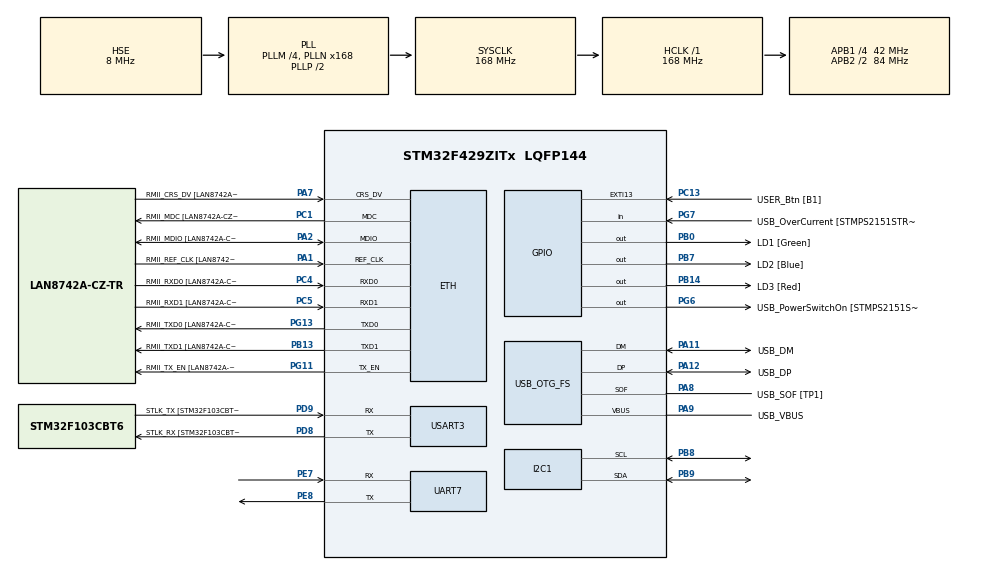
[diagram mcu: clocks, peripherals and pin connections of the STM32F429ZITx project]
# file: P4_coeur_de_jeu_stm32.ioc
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Mcu.Family=STM32F4
FREERTOS.Queues01=read_queue,16,3,1,Dynamic,NULL,NULL;write_queue,16,8,1,Dynamic,NULL,NULL;inputs_queue,16,5,1,Dynamic,NULL,NULL;outputs_queue,16,10,1,Dynamic,NULL,NULL
RCC.CortexFreq_Value=168000000
PG6.Signal=GPIO_Output
PB14.GPIO_Label=LD3 [Red]
PG6.GPIO_Label=USB_PowerSwitchOn [STMPS2151STR_EN]
PA14.GPIO_Label=TCK
RCC.SYSCLKSourceVirtual=RCC_SYSCLKSOURCE_PLLCLK
PA11.Mode=Device_Only
PB0.GPIO_Label=LD1 [Green]
PC14/OSC32_IN.Mode=LSE-External-Oscillator
PC5.Mode=RMII
PC13.GPIO_Label=USER_Btn [B1]
PB13.GPIO_Label=RMII_TXD1 [LAN8742A-CZ-TR_TXD1]
PB13.Signal=ETH_TXD1
PG13.Signal=ETH_TXD0
PD9.Mode=Asynchronous
PG11.Signal=ETH_TX_EN
RCC.SYSCLKSource=RCC_SYSCLKSOURCE_PLLCLK
ProjectManager.StackSize=0x400
VP_FREERTOS_VS_CMSIS_V2.Mode=CMSIS_V2
PA12.Signal=USB_OTG_FS_DP
ETH.PHY_Value=0
PH0/OSC_IN.Mode=HSE-External-Clock-Source
RCC.HCLKFreq_Value=168000000
RCC.APB2TimFreq_Value=168000000
PH1/OSC_OUT.Signal=RCC_OSC_OUT
PD8.Signal=USART3_TX
RCC.AHBFreq_Value=168000000
RCC.HSE_VALUE=8000000
RCC.PLLMUL=RCC_PLL_MUL9
PC4.GPIO_Label=RMII_RXD0 [LAN8742A-CZ-TR_RXD0]
PA14.Mode=Serial_Wire
VP_SYS_VS_tim1.Mode=TIM1
PA10.GPIO_Label=USB_ID
PB7.Signal=GPIO_Output
PA8.Signal=USB_OTG_FS_SOF
PG13.Mode=RMII
ETH.PHY_Name=LAN8742A_PHY_ADDRESS
PH1/OSC_OUT.Mode=HSE-External-Clock-Source
PB7.GPIO_Label=LD2 [Blue]
PB9.Signal=I2C1_SDA
Mcu.Package=LQFP144
NVIC.TimeBase=TIM1_UP_TIM10_IRQn
PC14/OSC32_IN.Signal=RCC_OSC32_IN
PA2.GPIO_Label=RMII_MDIO [LAN8742A-CZ-TR_MDIO]
NVIC.TimeBaseIP=TIM1
PA10.Signal=USB_OTG_FS_ID
USB_OTG_FS.VirtualMode=Device_Only
RCC.APB2CLKDivider=RCC_HCLK_DIV2
RCC.APB1TimFreq_Value=84000000
PG11.GPIO_Label=RMII_TX_EN [LAN8742A-CZ-TR_TXEN]
PC5.Signal=ETH_RXD1
PB13.Mode=RMII
PE7.Signal=UART7_RX
PC4.Mode=RMII
FREERTOS.Tasks01=thread_app,24,128,thread_handler_app,Default,NULL,Dynamic,NULL,NULL;thread_read,24,128,thread_handler_read,Default,NULL,Dynamic,NULL,NULL;thread_write,24,128,thread_handler_write,Default,NULL,Dynamic,NULL,NULL;thread_io,24,128,thread_IO_queues,Default,NULL,Dynamic,NULL,NULL
PA7.Mode=RMII
PG7.Signal=GPIO_Input
PD9.GPIO_Label=STLK_TX [STM32F103CBT6_PA2]
PC13.Signal=GPXTI13
PA9.GPIO_Label=USB_VBUS
PC4.Signal=ETH_RXD0
PA11.GPIO_Label=USB_DM
PD9.Signal=USART3_RX
UART7.VirtualMode=Asynchronous
RCC.APB1CLKDivider=RCC_HCLK_DIV4
PG13.GPIO_Label=RMII_TXD0 [LAN8742A-CZ-TR_TXD0]
ETH.PhyAddress=0
PA12.GPIO_Label=USB_DP
PD8.GPIO_Label=STLK_RX [STM32F103CBT6_PA3]
PE8.Mode=Asynchronous
PA13.Signal=SYS_JTMS-SWDIO
PA9.Mode=Activate_VBUS
PA8.GPIO_Label=USB_SOF [TP1]
ProjectManager.TargetToolchain=TrueSTUDIO
PB9.Mode=I2C
PA9.Signal=USB_OTG_FS_VBUS
RCC.USBFreq_Value=48000000
PD8.Mode=Asynchronous
PA1.Signal=ETH_REF_CLK
PB14.Signal=GPIO_Output
board=NUCLEO-F429ZI
RCC.VCOOutputFreq_Value=336000000
PH0/OSC_IN.Signal=RCC_OSC_IN
RCC.APB2Freq_Value=84000000
PA1.Mode=RMII
RCC.PRESCALERUSB=RCC_USBCLKSOURCE_PLL_DIV1_5
PE8.Signal=UART7_TX
PG7.GPIO_Label=USB_OverCurrent [STMPS2151STR_FAULT]
PA1.GPIO_Label=RMII_REF_CLK [LAN8742A-CZ-TR_REFCLK0]
PC1.GPIO_Label=RMII_MDC [LAN8742A-CZ-TR_MDC]
PA13.Mode=Serial_Wire
Mcu.Name=STM32F429ZITx
PA2.Signal=ETH_MDIO
PA13.GPIO_Label=TMS
RCC.APB2TimCLKDivider=2
RCC.48MHZClocksFreq_Value=48000000
RCC.SYSCLKFreq_VALUE=168000000
PE7.Mode=Asynchronous
ETH.MediaInterface=ETH_MEDIA_INTERFACE_RMII
PA7.GPIO_Label=RMII_CRS_DV [LAN8742A-CZ-TR_CRS_DV]
PA12.Mode=Device_Only
PC5.GPIO_Label=RMII_RXD1 [LAN8742A-CZ-TR_RXD1]
USART3.VirtualMode=VM_ASYNC
PC15/OSC32_OUT.Mode=LSE-External-Oscillator
PG11.Mode=RMII
PA11.Signal=USB_OTG_FS_DM
PA14.Signal=SYS_JTCK-SWCLK
ProjectManager.HeapSize=0x200
NVIC.TIM1_UP_TIM10_IRQn=true\:0\:0\:false\:false\:true\:false\:false\:true
RCC.HSI_VALUE=16000000
PH0/OSC_IN.GPIO_Label=MCO [STM32F103CBT6_PA8]
RCC.PLLQ=7
NVIC.PriorityGroup=NVIC_PRIORITYGROUP_4
RCC.PLLM=4
PB8.Mode=I2C
RCC.PLLN=168
PA2.Mode=RMII
PB8.Signal=I2C1_SCL
PC15/OSC32_OUT.Signal=RCC_OSC32_OUT
PA8.Mode=Activate_SOF_FS
RCC.APB1Freq_Value=42000000
PB0.Signal=GPIO_Output
PC1.Signal=ETH_MDC
PC1.Mode=RMII
PA7.Signal=ETH_CRS_DV
NVIC.UART7_IRQn=true\:5\:0\:false\:false\:true\:true\:true\:true

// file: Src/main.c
/* USER CODE BEGIN Header */
/**
 ******************************************************************************
 * @file           : main.c
 * @brief          : Main program body
 ******************************************************************************
 * @attention
 *
 * <h2><center>&copy; Copyright (c) 2020 STMicroelectronics.
 * All rights reserved.</center></h2>
 *
 * This software component is licensed by ST under Ultimate Liberty license
 * SLA0044, the "License"; You may not use this file except in compliance with
 * the License. You may obtain a copy of the License at:
 *                             www.st.com/SLA0044
 *
 ******************************************************************************
 */
/* USER CODE END Header */

#include "main.h"
#include "cmsis_os.h"

/* USER CODE BEGIN Includes */
#include"debug.h"
#include"game_p4.h"
#include"leds_control.h"
//#include"rtc.h"
/* USER CODE END Includes */

/* USER CODE BEGIN PTD */
//Game pads controls
typedef enum Queue_id {
	QUEUE_READ, QUEUE_WRITE
} Queue_id;

typedef enum {
	PAD_1 = 49,
	PAD_2 = 50,
	DOWN_PAD = 100,
	LEFT_PAD = 108,
	RIGHT_PAD = 114,
	UP_PAD = 117
} Pads_controls;

//Pad command Identifier
typedef enum {
	NO_PAD, PAD_1_COMMAND, PAD_2_COMMAND
} Pad_Identifier;

// Victory type command enum.
typedef enum {
	LINE_VICTORY, COL_VICTORY, RIGHT_DIAG_VICTORY, LEFT_DIAG_VICTORY
} Display_victory_command;

//Game mode enum.
typedef enum {
	NUMBERS, CONNECT_4
} Display_mode_command;

//Game Status enum.
typedef enum {
	RESTART, PLAY, GAME_END
} Display_status_command;

//Game move commands enum.
typedef enum {
	DOWN_COMMAND, UP_COMMAND, LEFT_COMMAND, RIGHT_COMMAND, NEXT_PLAYER_COMMAND
} Move_command;
/* USER CODE END PTD */

/* USER CODE BEGIN PD */
#define LED_PANEL_OFFSET 1
#define TOP_ROW_OFFSET 1

#define WRITE_QUEUE_BUFFER_SIZE 8
#define READ_BUTTON_BUFFER_SIZE 4
#define READ_QUEUE_BUFFER_SIZE 3
/* USER CODE END PD */

ETH_HandleTypeDef heth;

I2C_HandleTypeDef hi2c1;

UART_HandleTypeDef huart7;
UART_HandleTypeDef huart3;

PCD_HandleTypeDef hpcd_USB_OTG_FS;

/* Definitions for thread_app */
osThreadId_t thread_appHandle;
const osThreadAttr_t thread_app_attributes = { .name = "thread_app", .priority =
		(osPriority_t) osPriorityNormal, .stack_size = 128 * 4 };
/* Definitions for thread_read */
osThreadId_t thread_readHandle;
const osThreadAttr_t thread_read_attributes = { .name = "thread_read",
		.priority = (osPriority_t) osPriorityNormal, .stack_size = 128 * 4 };
/* Definitions for thread_write */
osThreadId_t thread_writeHandle;
const osThreadAttr_t thread_write_attributes = { .name = "thread_write",
		.priority = (osPriority_t) osPriorityNormal, .stack_size = 128 * 4 };
/* Definitions for thread_io */
osThreadId_t thread_ioHandle;
const osThreadAttr_t thread_io_attributes = { .name = "thread_io", .priority =
		(osPriority_t) osPriorityNormal, .stack_size = 128 * 4 };
/* Definitions for read_queue */
osMessageQueueId_t read_queueHandle;
const osMessageQueueAttr_t read_queue_attributes = { .name = "read_queue" };
/* Definitions for write_queue */
osMessageQueueId_t write_queueHandle;
const osMessageQueueAttr_t write_queue_attributes = { .name = "write_queue" };
/* Definitions for inputs_queue */
osMessageQueueId_t inputs_queueHandle;
const osMessageQueueAttr_t inputs_queue_attributes = { .name = "inputs_queue" };
/* Definitions for outputs_queue */
osMessageQueueId_t outputs_queueHandle;
const osMessageQueueAttr_t outputs_queue_attributes =
		{ .name = "outputs_queue" };
/* USER CODE BEGIN PV */
//Global Static Vars, inter-thread communication.
//static struct Queue* read_queue;
//static struct Queue* write_queue;
static victory_infos_struct victory_infos;

//Defined colors table of structs.
static led colors[7] = { { COLOR_ON, COLOR_OFF, COLOR_OFF }, { COLOR_OFF,
		COLOR_ON, COLOR_OFF }, { COLOR_OFF, COLOR_OFF, COLOR_ON }, { COLOR_ON,
		COLOR_ON, COLOR_ON }, { COLOR_ON, COLOR_OFF, COLOR_ON }, { COLOR_ON,
		COLOR_ON, COLOR_OFF }, { COLOR_OFF, COLOR_OFF, COLOR_OFF } };
/* USER CODE END PV */

void SystemClock_Config(void);
static void MX_GPIO_Init(void);
static void MX_ETH_Init(void);
static void MX_USART3_UART_Init(void);
static void MX_USB_OTG_FS_PCD_Init(void);
static void MX_UART7_Init(void);
static void MX_I2C1_Init(void);
void thread_handler_app(void *argument);
void thread_handler_read(void *argument);
void thread_handler_write(void *argument);
void thread_IO_queues(void *argument);

/* USER CODE BEGIN PFP */
// Victory struct initialization.
void initialize_victory_struct(void) {
	victory_infos.game_end = 0;
	victory_infos.winner_player = 0;
	victory_infos.victory_token_coord[0] = 0;
	victory_infos.victory_token_coord[1] = 0;
	victory_infos.victory_line_tokens_coord[0][0] = 0;
	victory_infos.victory_line_tokens_coord[0][1] = 0;
	victory_infos.victory_line_tokens_coord[1][0] = 0;
	victory_infos.victory_line_tokens_coord[1][1] = 0;
	victory_infos.victory_line_tokens_coord[2][0] = 0;
	victory_infos.victory_line_tokens_coord[2][1] = 0;
	victory_infos.victory_line_tokens_coord[3][0] = 0;
	victory_infos.victory_line_tokens_coord[3][1] = 0;
	victory_infos.victory_type = 0;
}

//Send message through queues, inter-thread communication.
void SendMessage(Queue_id queue, char* message, int message_length) {

	if (queue == QUEUE_READ) {
		if (message_length <= READ_QUEUE_BUFFER_SIZE) {
			osMessageQueuePut(read_queueHandle, message, 0, osWaitForever);
		}
	} else if (queue == QUEUE_WRITE) {
		if (message_length <= WRITE_QUEUE_BUFFER_SIZE) {
			osMessageQueuePut(write_queueHandle, message, 0, osWaitForever);
		}
	}
}

//Receive message through queues, inter-thread communication.
int ReceiveMessage(Queue_id queue, char* message, int message_length) {
	if (queue == QUEUE_WRITE) {
		if (message_length >= WRITE_QUEUE_BUFFER_SIZE) {
			int status = osMessageQueueGet(write_queueHandle, message, 0,
					osWaitForever);
			return status;
		} else {
			return -1;
		}
	} else if (queue == QUEUE_READ) {
		if (message_length >= READ_QUEUE_BUFFER_SIZE) {
			osMessageQueueGet(read_queueHandle, message, 0, osWaitForever);
			return 0;
		}
	}
	return -1;
}

/* USER CODE END PFP */

int main(void) {
	/* USER CODE BEGIN 1 */

	//read_queue = read_queueHandle;
	//write_queue = write_queueHandle;
	/* USER CODE END 1 */

	/* MCU Configuration--------------------------------------------------------*/

	/* Reset of all peripherals, Initializes the Flash interface and the Systick. */
	HAL_Init();

	/* Configure the system clock */
	SystemClock_Config();

	/* Initialize all configured peripherals */
	MX_GPIO_Init();
	MX_ETH_Init();
	MX_USART3_UART_Init();
	MX_USB_OTG_FS_PCD_Init();
	MX_UART7_Init();
	MX_I2C1_Init();

	/* Init scheduler */
	osKernelInitialize();

	/* Create the queue(s) */
	/* creation of read_queue */
	read_queueHandle = osMessageQueueNew(16, 3, &read_queue_attributes);

	/* creation of write_queue */
	write_queueHandle = osMessageQueueNew(16, 8, &write_queue_attributes);

	/* creation of inputs_queue */
	inputs_queueHandle = osMessageQueueNew(16, 5, &inputs_queue_attributes);

	/* creation of outputs_queue */
	outputs_queueHandle = osMessageQueueNew(16, 10, &outputs_queue_attributes);

	/* Create the thread(s) */
	/* creation of thread_app */
	thread_appHandle = osThreadNew(thread_handler_app, NULL,
			&thread_app_attributes);

	/* creation of thread_read */
	thread_readHandle = osThreadNew(thread_handler_read, NULL,
			&thread_read_attributes);

	/* creation of thread_write */
	thread_writeHandle = osThreadNew(thread_handler_write, NULL,
			&thread_write_attributes);

	/* creation of thread_io */
	thread_ioHandle = osThreadNew(thread_IO_queues, NULL,
			&thread_io_attributes);

	/* USER CODE BEGIN RTOS_THREADS */
	/* add threads, ... */
	/*
	 char bit1 = 0x00;
	 HAL_I2C_Mem_Write(&hi2c1, 0xD0, 0x00,1, &bit1, 1, 100);
	 char bit2 = 0x07;
	 HAL_I2C_Mem_Write(&hi2c1, 0xD0, 0x01,1, &bit2, 1, 100);
	 char bit3 = 0x12;
	 HAL_I2C_Mem_Write(&hi2c1, 0xD0, 0x02,1, &bit3, 1, 100);
	 char bit4 = 0x01;
	 HAL_I2C_Mem_Write(&hi2c1, 0xD0, 0x03,1, &bit4, 1, 100);
	 char bit5 = 0x16;
	 HAL_I2C_Mem_Write(&hi2c1, 0xD0, 0x04,1, &bit5, 1, 100);
	 char bit6 = 0x11;
	 HAL_I2C_Mem_Write(&hi2c1, 0xD0, 0x05,1, &bit6, 1, 100);
	 char bit7 = 0x20;
	 HAL_I2C_Mem_Write(&hi2c1, 0xD0, 0x06,1, &bit7, 1, 100);
	 */
	/* USER CODE END RTOS_THREADS */

	/* Start scheduler */
	osKernelStart();

	/* We should never get here as control is now taken by the scheduler */
	/* Infinite loop */
	while (1) {

	}
}

void SystemClock_Config(void) {
	RCC_OscInitTypeDef RCC_OscInitStruct = { 0 };
	RCC_ClkInitTypeDef RCC_ClkInitStruct = { 0 };

	/** Configure the main internal regulator output voltage
	 */
	__HAL_RCC_PWR_CLK_ENABLE()
	;
	__HAL_PWR_VOLTAGESCALING_CONFIG(PWR_REGULATOR_VOLTAGE_SCALE1);
	/** Initializes the CPU, AHB and APB busses clocks
	 */
	RCC_OscInitStruct.OscillatorType = RCC_OSCILLATORTYPE_HSE;
	RCC_OscInitStruct.HSEState = RCC_HSE_BYPASS;
	RCC_OscInitStruct.PLL.PLLState = RCC_PLL_ON;
	RCC_OscInitStruct.PLL.PLLSource = RCC_PLLSOURCE_HSE;
	RCC_OscInitStruct.PLL.PLLM = 4;
	RCC_OscInitStruct.PLL.PLLN = 168;
	RCC_OscInitStruct.PLL.PLLP = RCC_PLLP_DIV2;
	RCC_OscInitStruct.PLL.PLLQ = 7;
	if (HAL_RCC_OscConfig(&RCC_OscInitStruct) != HAL_OK) {
		Error_Handler();
	}
	/** Initializes the CPU, AHB and APB busses clocks
	 */
	RCC_ClkInitStruct.ClockType = RCC_CLOCKTYPE_HCLK | RCC_CLOCKTYPE_SYSCLK
			| RCC_CLOCKTYPE_PCLK1 | RCC_CLOCKTYPE_PCLK2;
	RCC_ClkInitStruct.SYSCLKSource = RCC_SYSCLKSOURCE_PLLCLK;
	RCC_ClkInitStruct.AHBCLKDivider = RCC_SYSCLK_DIV1;
	RCC_ClkInitStruct.APB1CLKDivider = RCC_HCLK_DIV4;
	RCC_ClkInitStruct.APB2CLKDivider = RCC_HCLK_DIV2;

	if (HAL_RCC_ClockConfig(&RCC_ClkInitStruct, FLASH_LATENCY_5) != HAL_OK) {
		Error_Handler();
	}
}

static void MX_ETH_Init(void) {

	heth.Instance = ETH;
	heth.Init.AutoNegotiation = ETH_AUTONEGOTIATION_ENABLE;
	heth.Init.PhyAddress = LAN8742A_PHY_ADDRESS;
	heth.Init.MACAddr[0] = 0x00;
	heth.Init.MACAddr[1] = 0x80;
	heth.Init.MACAddr[2] = 0xE1;
	heth.Init.MACAddr[3] = 0x00;
	heth.Init.MACAddr[4] = 0x00;
	heth.Init.MACAddr[5] = 0x00;
	heth.Init.RxMode = ETH_RXPOLLING_MODE;
	heth.Init.ChecksumMode = ETH_CHECKSUM_BY_HARDWARE;
	heth.Init.MediaInterface = ETH_MEDIA_INTERFACE_RMII;

	if (HAL_ETH_Init(&heth) != HAL_OK) {
		Error_Handler();
	}

}

static void MX_I2C1_Init(void) {

	hi2c1.Instance = I2C1;
	hi2c1.Init.ClockSpeed = 100000;
	hi2c1.Init.DutyCycle = I2C_DUTYCYCLE_2;
	hi2c1.Init.OwnAddress1 = 0;
	hi2c1.Init.AddressingMode = I2C_ADDRESSINGMODE_7BIT;
	hi2c1.Init.DualAddressMode = I2C_DUALADDRESS_DISABLE;
	hi2c1.Init.OwnAddress2 = 0;
	hi2c1.Init.GeneralCallMode = I2C_GENERALCALL_DISABLE;
	hi2c1.Init.NoStretchMode = I2C_NOSTRETCH_DISABLE;
	if (HAL_I2C_Init(&hi2c1) != HAL_OK) {
		Error_Handler();
	}
	/** Configure Analogue filter
	 */
	if (HAL_I2CEx_ConfigAnalogFilter(&hi2c1, I2C_ANALOGFILTER_ENABLE)
			!= HAL_OK) {
		Error_Handler();
	}
	/** Configure Digital filter
	 */
	if (HAL_I2CEx_ConfigDigitalFilter(&hi2c1, 0) != HAL_OK) {
		Error_Handler();
	}

}

static void MX_UART7_Init(void) {

	huart7.Instance = UART7;
	huart7.Init.BaudRate = 115200;
	huart7.Init.WordLength = UART_WORDLENGTH_8B;
	huart7.Init.StopBits = UART_STOPBITS_1;
	huart7.Init.Parity = UART_PARITY_NONE;
	huart7.Init.Mode = UART_MODE_TX_RX;
	huart7.Init.HwFlowCtl = UART_HWCONTROL_NONE;
	huart7.Init.OverSampling = UART_OVERSAMPLING_16;
	if (HAL_UART_Init(&huart7) != HAL_OK) {
		Error_Handler();
	}

}

static void MX_USART3_UART_Init(void) {

	huart3.Instance = USART3;
	huart3.Init.BaudRate = 115200;
	huart3.Init.WordLength = UART_WORDLENGTH_8B;
	huart3.Init.StopBits = UART_STOPBITS_1;
	huart3.Init.Parity = UART_PARITY_NONE;
	huart3.Init.Mode = UART_MODE_TX_RX;
	huart3.Init.HwFlowCtl = UART_HWCONTROL_NONE;
	huart3.Init.OverSampling = UART_OVERSAMPLING_16;
	if (HAL_UART_Init(&huart3) != HAL_OK) {
		Error_Handler();
	}

}

static void MX_USB_OTG_FS_PCD_Init(void) {

	hpcd_USB_OTG_FS.Instance = USB_OTG_FS;
	hpcd_USB_OTG_FS.Init.dev_endpoints = 4;
	hpcd_USB_OTG_FS.Init.speed = PCD_SPEED_FULL;
	hpcd_USB_OTG_FS.Init.dma_enable = DISABLE;
	hpcd_USB_OTG_FS.Init.phy_itface = PCD_PHY_EMBEDDED;
	hpcd_USB_OTG_FS.Init.Sof_enable = ENABLE;
	hpcd_USB_OTG_FS.Init.low_power_enable = DISABLE;
	hpcd_USB_OTG_FS.Init.lpm_enable = DISABLE;
	hpcd_USB_OTG_FS.Init.vbus_sensing_enable = ENABLE;
	hpcd_USB_OTG_FS.Init.use_dedicated_ep1 = DISABLE;
	if (HAL_PCD_Init(&hpcd_USB_OTG_FS) != HAL_OK) {
		Error_Handler();
	}

}

static void MX_GPIO_Init(void) {
	GPIO_InitTypeDef GPIO_InitStruct = { 0 };

	/* GPIO Ports Clock Enable */
	__HAL_RCC_GPIOC_CLK_ENABLE()
	;
	__HAL_RCC_GPIOH_CLK_ENABLE()
	;
	__HAL_RCC_GPIOA_CLK_ENABLE()
	;
	__HAL_RCC_GPIOB_CLK_ENABLE()
	;
	__HAL_RCC_GPIOE_CLK_ENABLE()
	;
	__HAL_RCC_GPIOD_CLK_ENABLE()
	;
	__HAL_RCC_GPIOG_CLK_ENABLE()
	;

	/*Configure GPIO pin Output Level */
	HAL_GPIO_WritePin(GPIOB, LD1_Pin | LD3_Pin | LD2_Pin, GPIO_PIN_RESET);

	/*Configure GPIO pin Output Level */
	HAL_GPIO_WritePin(USB_PowerSwitchOn_GPIO_Port, USB_PowerSwitchOn_Pin,
			GPIO_PIN_RESET);

	/*Configure GPIO pin : USER_Btn_Pin */
	GPIO_InitStruct.Pin = USER_Btn_Pin;
	GPIO_InitStruct.Mode = GPIO_MODE_IT_RISING;
	GPIO_InitStruct.Pull = GPIO_NOPULL;
	HAL_GPIO_Init(USER_Btn_GPIO_Port, &GPIO_InitStruct);

	/*Configure GPIO pins : LD1_Pin LD3_Pin LD2_Pin */
	GPIO_InitStruct.Pin = LD1_Pin | LD3_Pin | LD2_Pin;
	GPIO_InitStruct.Mode = GPIO_MODE_OUTPUT_PP;
	GPIO_InitStruct.Pull = GPIO_NOPULL;
	GPIO_InitStruct.Speed = GPIO_SPEED_FREQ_LOW;
	HAL_GPIO_Init(GPIOB, &GPIO_InitStruct);

	/*Configure GPIO pin : USB_PowerSwitchOn_Pin */
	GPIO_InitStruct.Pin = USB_PowerSwitchOn_Pin;
	GPIO_InitStruct.Mode = GPIO_MODE_OUTPUT_PP;
	GPIO_InitStruct.Pull = GPIO_NOPULL;
	GPIO_InitStruct.Speed = GPIO_SPEED_FREQ_LOW;
	HAL_GPIO_Init(USB_PowerSwitchOn_GPIO_Port, &GPIO_InitStruct);

	/*Configure GPIO pin : USB_OverCurrent_Pin */
	GPIO_InitStruct.Pin = USB_OverCurrent_Pin;
	GPIO_InitStruct.Mode = GPIO_MODE_INPUT;
	GPIO_InitStruct.Pull = GPIO_NOPULL;
	HAL_GPIO_Init(USB_OverCurrent_GPIO_Port, &GPIO_InitStruct);

}

void thread_handler_app(void *argument) {
	/* USER CODE BEGIN 5 */
	//		setLedColor(1,1,255,0,0);
	//Game initializations.
	initialize_victory_struct();
	//		debug_setlevel(2);
	gp4_init();
	int restart = 0;
	move_t move;
	move.player = 1;
	char tmp_message[WRITE_QUEUE_BUFFER_SIZE];
	char tmp_command[READ_QUEUE_BUFFER_SIZE];
	/* Infinite loop */
	for (;;) {

		if (restart != 0) {
			initialize_victory_struct();
			gp4_init();
			restart = 0;
			move.player = 1;
			osDelay(500);
		}
		while (1) {
			//Wait message from reading queue.
			ReceiveMessage(QUEUE_READ, tmp_command, READ_QUEUE_BUFFER_SIZE);

			//Process message from reading queue.

			//If DOWN button is pushed.
			if (tmp_command[0]
					== DOWN_COMMAND/*&& tmp_command[1] == move.player*/) {
				move = gp4_play_token();
				tmp_message[0] = CONNECT_4;
				tmp_message[1] = PLAY;
				tmp_message[2] = DOWN_COMMAND;
				tmp_message[3] = move.player_color;
				tmp_message[4] = move.beg.l;
				tmp_message[5] = move.beg.c;
				tmp_message[6] = move.end.l;
				tmp_message[7] = move.end.c;
				SendMessage(QUEUE_WRITE, tmp_message, WRITE_QUEUE_BUFFER_SIZE);
				osDelay(1000);
				victory_infos = gp4_check_winner();
				if (victory_infos.game_end != 0) {
					break;
				}
				move = gp4_next_player();
				tmp_message[0] = CONNECT_4;
				tmp_message[1] = PLAY;
				tmp_message[2] = NEXT_PLAYER_COMMAND;
				tmp_message[3] = move.player_color;
				tmp_message[4] = move.beg.l;
				tmp_message[5] = move.beg.c;
				tmp_message[6] = move.end.l;
				tmp_message[7] = move.end.c;
				SendMessage(QUEUE_WRITE, tmp_message, WRITE_QUEUE_BUFFER_SIZE);
				continue;
				//If LEFT button is pushed.
			} else if (tmp_command[0] == LEFT_COMMAND
					/*&& tmp_command[1] == move.player*/) {
				move = gp4_move_left();
				tmp_message[0] = CONNECT_4;
				tmp_message[1] = PLAY;
				tmp_message[2] = LEFT_COMMAND;
				tmp_message[3] = move.player_color;
				tmp_message[4] = move.beg.l;
				tmp_message[5] = move.beg.c;
				tmp_message[6] = move.end.l;
				tmp_message[7] = move.end.c;
				SendMessage(QUEUE_WRITE, tmp_message, WRITE_QUEUE_BUFFER_SIZE);
				continue;
				//If RIGHT button is pushed.
			} else if (tmp_command[0] == RIGHT_COMMAND/*
					&& tmp_command[1] == move.player*/) {
				move = gp4_move_right();
				tmp_message[0] = CONNECT_4;
				tmp_message[1] = PLAY;
				tmp_message[2] = RIGHT_COMMAND;
				tmp_message[3] = move.player_color;
				tmp_message[4] = move.beg.l;
				tmp_message[5] = move.beg.c;
				tmp_message[6] = move.end.l;
				tmp_message[7] = move.end.c;
				SendMessage(QUEUE_WRITE, tmp_message, WRITE_QUEUE_BUFFER_SIZE);
				continue;
			}
		}
		//Victory processing
		if (victory_infos.game_end == 1) {

			//Victory Blink coordinates processing.
			if (victory_infos.victory_type == HORIZONTAL) {
				tmp_message[2] = LINE_VICTORY;
			} else if (victory_infos.victory_type == VERTICAL) {
				tmp_message[2] = COL_VICTORY;
			} else if (victory_infos.victory_type == RIGHT_DIAGONAL) {
				tmp_message[2] = RIGHT_DIAG_VICTORY;
			} else if (victory_infos.victory_type == LEFT_DIAGONAL) {
				tmp_message[2] = LEFT_DIAG_VICTORY;
			}
			tmp_message[0] = CONNECT_4;
			tmp_message[1] = GAME_END;
			tmp_message[3] = move.player_color;
			tmp_message[4] = victory_infos.victory_line_tokens_coord[0][0];
			tmp_message[5] = victory_infos.victory_line_tokens_coord[0][1];
			tmp_message[6] = victory_infos.victory_line_tokens_coord[3][0];
			tmp_message[7] = victory_infos.victory_line_tokens_coord[3][1];
			SendMessage(QUEUE_WRITE, tmp_message, WRITE_QUEUE_BUFFER_SIZE);
		}
		osDelay(1000);
		//Emptying Grid (turn leds off).
		tmp_message[0] = CONNECT_4;
		tmp_message[1] = RESTART;
		tmp_message[2] = 0;
		tmp_message[3] = 0;
		tmp_message[4] = 0;
		tmp_message[5] = 0;
		tmp_message[6] = 0;
		tmp_message[7] = 0;
		SendMessage(QUEUE_WRITE, tmp_message, WRITE_QUEUE_BUFFER_SIZE);
		osDelay(500);
		restart += 1;

		//		osThreadExit();

		osDelay(1);
	}
	/* USER CODE END 5 */
}

void thread_handler_read(void *argument) {
	/* USER CODE BEGIN thread_handler_read */
	char button_read[READ_BUTTON_BUFFER_SIZE];

	char command[READ_QUEUE_BUFFER_SIZE];
	/* Infinite loop */
	for (;;) {

		//Input reading and decoding thread handler.

		//Get input.

		if (readbutton(button_read, (READ_BUTTON_BUFFER_SIZE + 1)) == LCRC_OK) {

			//Process input.
			if (button_read[3] == DOWN_PAD && button_read[2] == UP_PAD) {
				//if (button_read[1] == PAD_1) {
				command[0] = UP_COMMAND;
				//	command[1] = PAD_1_COMMAND;
				//} else if (button_read[1] == PAD_2) {
				//	command[0] = UP_COMMAND;
				//	command[1] = PAD_2_COMMAND;
				//}
			} else if (button_read[3] == DOWN_PAD
					&& button_read[2] == DOWN_PAD) {
				//if (button_read[1] == PAD_1) {
				command[0] = DOWN_COMMAND;
				//	command[1] = PAD_1_COMMAND;
				//} else if (button_read[1] == PAD_2) {
				//	command[0] = DOWN_COMMAND;
				//	command[1] = PAD_2_COMMAND;
				//}
			} else if (button_read[3] == DOWN_PAD
					&& button_read[2] == LEFT_PAD) {
				//if (button_read[1] == PAD_1) {
				command[0] = LEFT_COMMAND;
				//	command[1] = PAD_1_COMMAND;
				//} else if (button_read[1] == PAD_2) {
				//	command[0] = LEFT_COMMAND;
				//	command[1] = PAD_2_COMMAND;
				//}
			} else if (button_read[3] == DOWN_PAD
					&& button_read[2] == RIGHT_PAD) {
				//if (button_read[1] == PAD_1) {
				command[0] = RIGHT_COMMAND;
				//	command[1] = PAD_1_COMMAND;
				//} else if (button_read[1] == PAD_2) {
				//	command[0] = RIGHT_COMMAND;
				//	command[1] = PAD_2_COMMAND;
			}
		} else
			continue;
	//Send processed command to read queue.
	SendMessage(QUEUE_READ, command, READ_QUEUE_BUFFER_SIZE);
	}

	//		osThreadExit();

	osDelay(1);
}
/* USER CODE END thread_handler_read */

void thread_handler_write(void *argument) {
	/* USER CODE BEGIN thread_handler_write */
	int receive_count = 1;
	char tmp_message_write[8];
	tmp_message_write[3] = 1;
	/* Infinite loop */
	for (;;) {
		setLedColor(1, 1, colors[GREEN].RValue, colors[GREEN].GValue,
				colors[GREEN].BValue);
		while (1) {
			//Led panel controlling handler and blinking handler. 2 THREADS !.
			//if (pthread_self() == write_thread_id_set) {
			//Wait message from writing queue.
			if (ReceiveMessage(QUEUE_WRITE, tmp_message_write,
			WRITE_QUEUE_BUFFER_SIZE) == 0) {

				if (tmp_message_write[0] == CONNECT_4) {

					if (tmp_message_write[1] == RESET) {
						for (int row = 2; row < 8; row++) {
							for (int col = 1; col < 8; col++) {
								setLedColor(row, col, colors[BLACK].RValue,
										colors[BLACK].GValue,
										colors[BLACK].BValue);
							}
						}
						break;
					}
					receive_count += 1;
					if (tmp_message_write[1] == PLAY) {
						//If DOWN button pressed. Validation animation.
						if (tmp_message_write[2] == DOWN_COMMAND) {
							receive_count = 0;
							for (int row = 2;
									row
											<= (tmp_message_write[6]
													+ LED_PANEL_OFFSET);
									row++) {
								setLedColor(row - 1,
										(tmp_message_write[7] + LED_PANEL_OFFSET),
										colors[BLACK].RValue,
										colors[BLACK].GValue,
										colors[BLACK].BValue);
								setLedColor(row,
										(tmp_message_write[7] + LED_PANEL_OFFSET),
										colors[(int) tmp_message_write[3]].RValue,
										colors[(int) tmp_message_write[3]].GValue,
										colors[(int) tmp_message_write[3]].BValue);
								osDelay(150);
							}
							//If LEFT or RIGHT button pressed. Side move animation.
						} else if (tmp_message_write[2] == LEFT_COMMAND
								|| tmp_message_write[2] == RIGHT_COMMAND) {
							setLedColor(1,
									(tmp_message_write[5] + LED_PANEL_OFFSET),
									colors[BLACK].RValue, colors[BLACK].GValue,
									colors[BLACK].BValue);
							setLedColor(1,
									(tmp_message_write[7] + LED_PANEL_OFFSET),
									colors[(int) tmp_message_write[3]].RValue,
									colors[(int) tmp_message_write[3]].GValue,
									colors[(int) tmp_message_write[3]].BValue);
							//Next Player animation, change color and replace play token.
						} else if (tmp_message_write[2]
								== NEXT_PLAYER_COMMAND) {
							setLedColor(1,
									(tmp_message_write[7] + LED_PANEL_OFFSET),
									colors[(int) tmp_message_write[3]].RValue,
									colors[(int) tmp_message_write[3]].GValue,
									colors[(int) tmp_message_write[3]].BValue);
						}
						//Line victory blink.
					} else if (tmp_message_write[1] == GAME_END) {
						if (tmp_message_write[2] == LINE_VICTORY) {
							receive_count = 0;
							for (int count = 0; count < 5; count++) {
								for (int col = (tmp_message_write[5]
										+ LED_PANEL_OFFSET);
										col
												<= (tmp_message_write[7]
														+ LED_PANEL_OFFSET);
										col++) {
									setLedColor(
											tmp_message_write[4]
													+ LED_PANEL_OFFSET
													+ TOP_ROW_OFFSET, col,
											colors[BLACK].RValue,
											colors[BLACK].GValue,
											colors[BLACK].BValue);
								}
								osDelay(500);
								for (int col = (tmp_message_write[5]
										+ LED_PANEL_OFFSET);
										col
												<= (tmp_message_write[7]
														+ LED_PANEL_OFFSET);
										col++) {
									setLedColor(
											tmp_message_write[4]
													+ LED_PANEL_OFFSET
													+ TOP_ROW_OFFSET, col,
											colors[(int) tmp_message_write[3]].RValue,
											colors[(int) tmp_message_write[3]].GValue,
											colors[(int) tmp_message_write[3]].BValue);
								}
								osDelay(500);
							}
							//Column victory blink.
						} else if (tmp_message_write[2] == COL_VICTORY) {
							receive_count = 0;
							for (int count = 0; count < 5; count++) {
								for (int row = (tmp_message_write[4]
										+ LED_PANEL_OFFSET + TOP_ROW_OFFSET);
										row
												<= (tmp_message_write[6]
														+ LED_PANEL_OFFSET
														+ TOP_ROW_OFFSET);
										row++) {
									setLedColor(row,
											tmp_message_write[5]
													+ LED_PANEL_OFFSET,
											colors[BLACK].RValue,
											colors[BLACK].GValue,
											colors[BLACK].BValue);
								}
								osDelay(500);
								for (int row = (tmp_message_write[4]
										+ LED_PANEL_OFFSET + TOP_ROW_OFFSET);
										row
												<= (tmp_message_write[6]
														+ LED_PANEL_OFFSET
														+ TOP_ROW_OFFSET);
										row++) {
									setLedColor(row,
											tmp_message_write[5]
													+ LED_PANEL_OFFSET,
											colors[(int) tmp_message_write[3]].RValue,
											colors[(int) tmp_message_write[3]].GValue,
											colors[(int) tmp_message_write[3]].BValue);
								}
								osDelay(500);
							}
							//Right diagonal victory blink.
						} else if (tmp_message_write[2] == RIGHT_DIAG_VICTORY) {
							receive_count = 0;
							int win_row, win_col;
							for (int count = 0; count < 5; count++) {
								win_row = tmp_message_write[4]
										+ LED_PANEL_OFFSET + TOP_ROW_OFFSET;
								win_col = tmp_message_write[5]
										+ LED_PANEL_OFFSET;
								for (int tokens = 0; tokens < 4; tokens++) {
									setLedColor(win_row, win_col,
											colors[BLACK].RValue,
											colors[BLACK].GValue,
											colors[BLACK].BValue);
									win_row++, win_col++;
								}
								osDelay(500);
								win_row = tmp_message_write[4]
										+ LED_PANEL_OFFSET + TOP_ROW_OFFSET;
								win_col = tmp_message_write[5]
										+ LED_PANEL_OFFSET;
								for (int tokens = 0; tokens < 4; tokens++) {
									setLedColor(win_row, win_col,
											colors[(int) tmp_message_write[3]].RValue,
											colors[(int) tmp_message_write[3]].GValue,
											colors[(int) tmp_message_write[3]].BValue);
									win_row++, win_col++;
								}
								osDelay(500);
							}
							//Left diagonal victory blink.
						} else if (tmp_message_write[2] == LEFT_DIAG_VICTORY) {
							receive_count = 0;
							int win_row, win_col;
							for (int count = 0; count < 5; count++) {
								win_row = tmp_message_write[4]
										+ LED_PANEL_OFFSET + TOP_ROW_OFFSET;
								win_col = tmp_message_write[5]
										+ LED_PANEL_OFFSET;
								for (int tokens = 0; tokens < 4; tokens++) {
									setLedColor(win_row, win_col,
											colors[BLACK].RValue,
											colors[BLACK].GValue,
											colors[BLACK].BValue);
									win_row--, win_col++;
								}
								osDelay(500);
								win_row = tmp_message_write[4]
										+ LED_PANEL_OFFSET + TOP_ROW_OFFSET;
								win_col = tmp_message_write[5]
										+ LED_PANEL_OFFSET;
								for (int tokens = 0; tokens < 4; tokens++) {
									setLedColor(win_row, win_col,
											colors[(int) tmp_message_write[3]].RValue,
											colors[(int) tmp_message_write[3]].GValue,
											colors[(int) tmp_message_write[3]].BValue);
									win_row--, win_col++;
								}
								osDelay(500);
							}
						}
					}
				}
				//Play token blinking thread. receive_count is used to sync/stop blinking when necessary.
			} else {		// if (pthread_self() == write_thread_id_blink) {
				if (receive_count > 0) {
					setLedColor(1, (tmp_message_write[7] + LED_PANEL_OFFSET),
							colors[(int) tmp_message_write[3]].RValue,
							colors[(int) tmp_message_write[3]].GValue,
							colors[(int) tmp_message_write[3]].BValue);
					osDelay(250);
					setLedColor(1, (tmp_message_write[7] + LED_PANEL_OFFSET),
							colors[BLACK].RValue, colors[BLACK].GValue,
							colors[BLACK].BValue);
					osDelay(250);
				} else
					osDelay(500);
			}
		}
		//		osThreadExit();

		osDelay(1);
	}
	/* USER CODE END thread_handler_write */
}

void thread_IO_queues(void *argument) {
	/* USER CODE BEGIN thread_IO_queues */
	/*
	 uint8_t rtcmessage[8];
	 uint8_t slaveAddr = 0b1101000;
	 uint8_t pData = 0x00;
	 uint8_t* ptr_date_from_RTC;
	 */
	/* Infinite loop */
	for (;;) {
		unsigned char buffer[SIZE_OF_LED_COMMAND_BUFFER] = { 0 };
		if (osMessageQueueGet(outputs_queueHandle, buffer, 0, 20) == osOK) {
			osDelay(10);
			HAL_UART_Transmit(&huart7, (uint8_t *) buffer,
					SIZE_OF_LED_COMMAND_BUFFER, 10);
		}

		if (HAL_UART_Receive(&huart7, (uint8_t *) buffer,
				SIZE_OF_PLAYER_COMMAND_BUFFER, 10) == HAL_OK) {
			osMessageQueuePut(inputs_queueHandle, buffer, 0, osWaitForever);
		}
		/*
		 if(HAL_GPIO_ReadPin(GPIOC, GPIO_PIN_13)){
		 osDelay(100);
		 HAL_I2C_Master_Transmit(&hi2c1, slaveAddr<<1, &pData, 1, 100);
		 HAL_I2C_Master_Receive(&hi2c1, slaveAddr<<1, (uint8_t *) rtcmessage, 8, 100);
		 ptr_date_from_RTC = composeRtcMessage(rtcmessage);
		 HAL_UART_Transmit(&huart3,(uint8_t *) ptr_date_from_RTC, SIZE_OF_MESSAGE, 10);
		 }
		 */
		osDelay(1);
	}
	/* USER CODE END thread_IO_queues */
}

void HAL_TIM_PeriodElapsedCallback(TIM_HandleTypeDef *htim) {
	if (htim->Instance == TIM1) {
		HAL_IncTick();
	}
}

void Error_Handler(void) {
}

/************************ (C) COPYRIGHT STMicroelectronics *****END OF FILE****/
